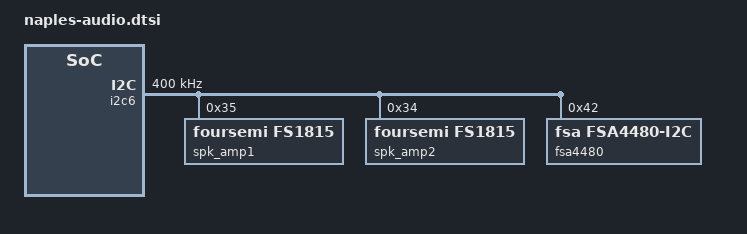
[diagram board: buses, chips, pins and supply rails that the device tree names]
/*
 * Copyright (c) 2019 MediaTek Inc.
 *
 * This program is free software; you can redistribute it and/or modify
 * it under the terms of the GNU General Public License version 2 as
 * published by the Free Software Foundation.
 *
 * This program is distributed in the hope that it will be useful,
 * but WITHOUT ANY WARRANTY; without even the implied warranty of
 * MERCHANTABILITY or FITNESS FOR A PARTICULAR PURPOSE.  See the
 * GNU General Public License for more details.
 */
&odm {
	frsm_amp: frsm_amp  {
		compatible = "foursemi,frsm-amp";
		frsm,amp-ndev = <2>;
		frsm,class-enable;
		status = "okay";
	};

	frsm_amp_mngr: frsm_amp_mngr {
		compatible = "audio,spkr-amp-mngr";
		audio,amp-ndev = <2>;
		audio,register-dapm = <0>;
		status = "okay";
	};
};

&i2c6 {
	status = "ok";
	clock-frequency = <400000>;
	spk_amp1: fs18xx@35 {
		compatible = "foursemi,fs1815";
		reg = <0x35>;
		spkr-id = <1>;
		fwm-name = "frsm-spk1.bin";
		//mntr-enable;
		//mntr-period = <2000>;
		status = "okay";
	};

	spk_amp2: fs18xx@34 {
		compatible = "foursemi,fs1815";
		reg = <0x34>;
		spkr-id = <2>;
		fwm-name = "frsm-spk2.bin";
		//mntr-enable;
		//mntr-period = <2000>;
		status = "okay";
	};
	fsa4480: fsa4480@42 {
		compatible = "fsa,fsa4480-i2c";
		reg = <0x42>;
		status = "okay";
	};
};

&spk{
	status = "disabled";
};
